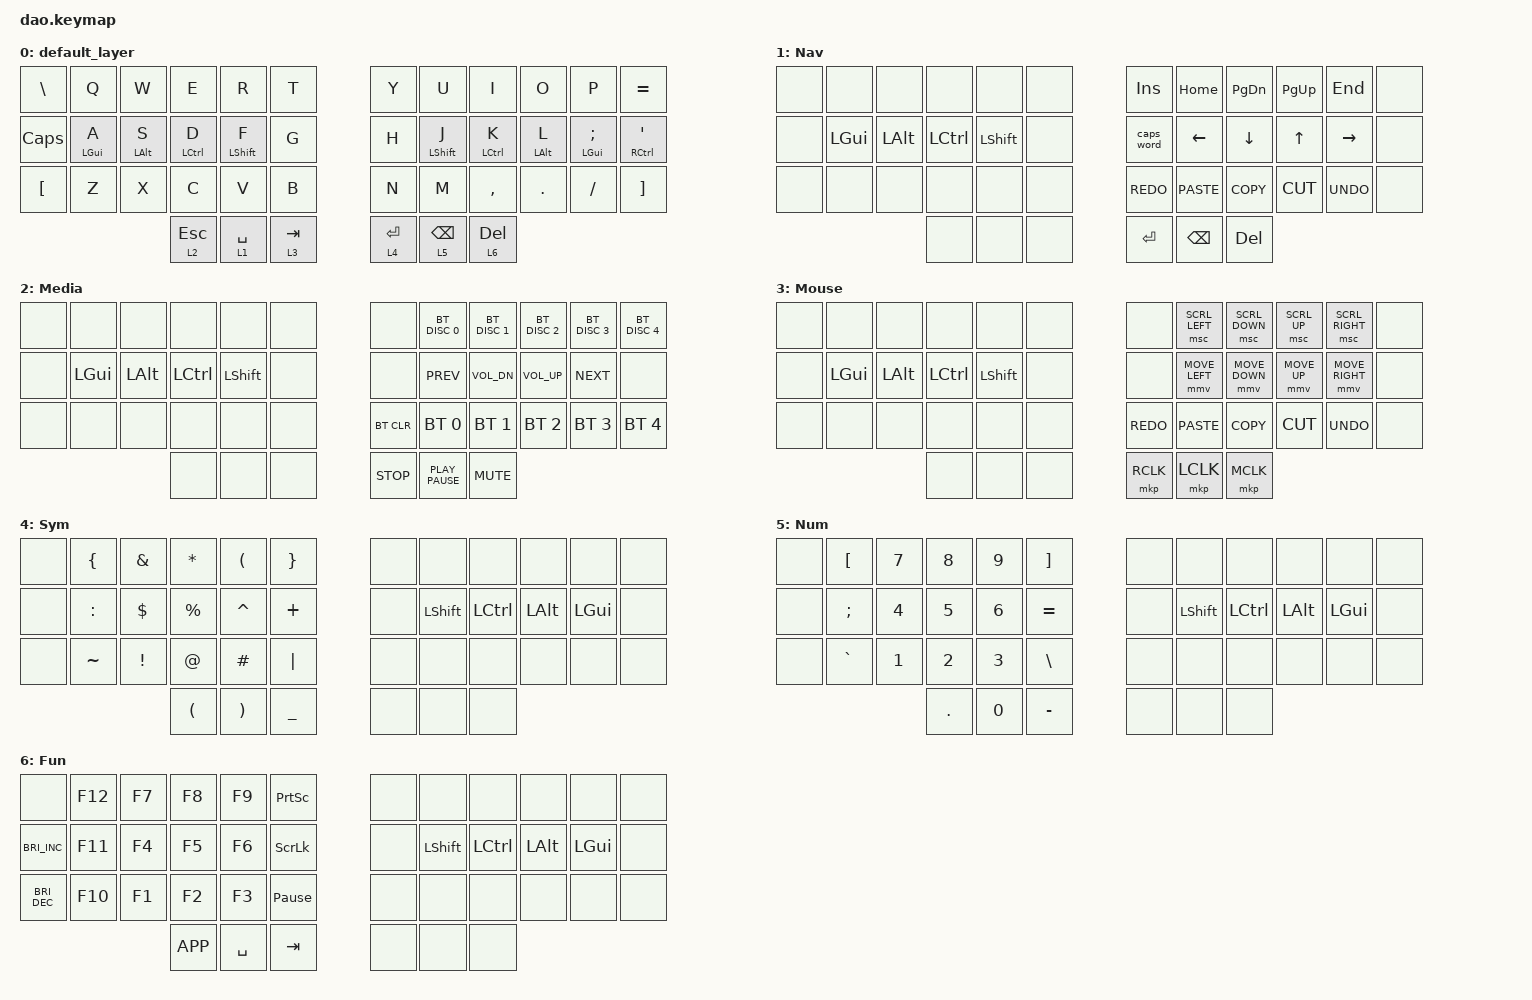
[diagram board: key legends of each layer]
/*
 * Copyright (c) 2021 Rafael Yumagulov
 *
 * SPDX-License-Identifier: MIT
 */

#include <behaviors.dtsi>
#include <dt-bindings/zmk/bt.h>
#include <dt-bindings/zmk/keys.h>
#include <dt-bindings/zmk/pointing.h>

#define DEF 0
#define LWR 1
#define RSE 2
#define ADJ 3

&lt { quick_tap_ms = <200>; };

&mt { quick_tap_ms = <200>; };

/ {
    chosen {
        zmk,matrix_transform = &default_transform;

        // zmk,matrix_transform = &extra_keys_transform;
    };
};

/ {
    combos {
        compatible = "zmk,combos";

        jk-escape {
            bindings = <&kp ESC>;
            key-positions = <19 20>;
            layers = <0>;
        };
    };

    behaviors {
        hr_mod_r: hr_mod_r {
            compatible = "zmk,behavior-hold-tap";
            label = "HR_MOD_R";
            bindings = <&kp>, <&kp>;

            #binding-cells = <2>;
            tapping-term-ms = <200>;
            quick-tap-ms = <200>;
            require-prior-idle-ms = <230>;
            flavor = "tap-preferred";
            hold-trigger-key-positions = <13 14 15 16 0 1 2 3 4 5 12 13 14 15 16 17 24 25 26 27 28 29 36 37 38 39 40 41>;
        };

        hr_mod_l: hr_mod_l {
            compatible = "zmk,behavior-hold-tap";
            label = "HR_MOD_L";
            bindings = <&kp>, <&kp>;

            #binding-cells = <2>;
            tapping-term-ms = <200>;
            quick-tap-ms = <200>;
            require-prior-idle-ms = <230>;
            flavor = "tap-preferred";
            hold-trigger-key-positions = <19 20 21 22 6 7 8 9 10 11 18 19 20 21 22 23 30 31 32 33 34 35 39 40 41 36 37 38>;
        };
    };

    keymap {
        compatible = "zmk,keymap";

        default_layer {
            bindings = <
&kp BACKSLASH     &kp Q                 &kp W                 &kp E                     &kp R                   &kp T      &kp Y        &kp U                   &kp I                     &kp O                 &kp P                    &kp EQUAL
&kp CAPS          &hr_mod_l LEFT_GUI A  &hr_mod_l LEFT_ALT S  &hr_mod_l LEFT_CONTROL D  &hr_mod_l LEFT_SHIFT F  &kp G      &kp H        &hr_mod_r LEFT_SHIFT J  &hr_mod_r LEFT_CONTROL K  &hr_mod_r LEFT_ALT L  &hr_mod_r LEFT_GUI SEMI  &mt RCTRL SQT
&kp LEFT_BRACKET  &kp Z                 &kp X                 &kp C                     &kp V                   &kp B      &kp N        &kp M                   &kp COMMA                 &kp DOT               &kp FSLH                 &kp RIGHT_BRACKET
                                                              &lt 2 ESCAPE              &lt 1 SPACE             &lt 3 TAB  &lt 4 ENTER  &lt 5 BSPC              &lt 6 DEL
            >;
        };

        Nav {
            bindings = <
&none  &none         &none         &none             &none           &none  &kp INSERT  &kp HOME       &kp PAGE_DOWN  &kp PAGE_UP  &kp END     &none
&none  &kp LEFT_GUI  &kp LEFT_ALT  &kp LEFT_CONTROL  &kp LEFT_SHIFT  &none  &caps_word  &kp LEFT       &kp DOWN       &kp UP       &kp RIGHT   &none
&none  &none         &none         &none             &none           &none  &kp K_REDO  &kp K_PASTE    &kp K_COPY     &kp K_CUT    &kp K_UNDO  &none
                                   &none             &none           &none  &kp ENTER   &kp BACKSPACE  &kp DELETE
            >;
        };

        Media {
            bindings = <
&none  &none         &none         &none             &none           &none  &none       &bt BT_DISC 0     &bt BT_DISC 1  &bt BT_DISC 2  &bt BT_DISC 3  &bt BT_DISC 4
&none  &kp LEFT_GUI  &kp LEFT_ALT  &kp LEFT_CONTROL  &kp LEFT_SHIFT  &none  &none       &kp K_PREV        &kp C_VOL_DN   &kp C_VOL_UP   &kp K_NEXT     &none
&none  &none         &none         &none             &none           &none  &bt BT_CLR  &bt BT_SEL 0      &bt BT_SEL 1   &bt BT_SEL 2   &bt BT_SEL 3   &bt BT_SEL 4
                                   &none             &none           &none  &kp K_STOP  &kp K_PLAY_PAUSE  &kp K_MUTE
            >;
        };

        Mouse {
            bindings = <
&none  &none         &none         &none             &none           &none  &none       &msc SCRL_LEFT  &msc SCRL_DOWN  &msc SCRL_UP  &msc SCRL_RIGHT  &none
&none  &kp LEFT_GUI  &kp LEFT_ALT  &kp LEFT_CONTROL  &kp LEFT_SHIFT  &none  &none       &mmv MOVE_LEFT  &mmv MOVE_DOWN  &mmv MOVE_UP  &mmv MOVE_RIGHT  &none
&none  &none         &none         &none             &none           &none  &kp K_REDO  &kp K_PASTE     &kp K_COPY      &kp K_CUT     &kp K_UNDO       &none
                                   &none             &none           &none  &mkp RCLK   &mkp LCLK       &mkp MCLK
            >;
        };

        Sym {
            bindings = <
&none  &kp LEFT_BRACE  &kp AMPERSAND    &kp ASTERISK          &kp LEFT_PARENTHESIS   &kp RIGHT_BRACE  &none  &none           &none             &none         &none         &none
&none  &kp COLON       &kp DOLLAR       &kp PERCENT           &kp CARET              &kp PLUS         &none  &kp LEFT_SHIFT  &kp LEFT_CONTROL  &kp LEFT_ALT  &kp LEFT_GUI  &none
&none  &kp TILDE       &kp EXCLAMATION  &kp AT                &kp HASH               &kp PIPE         &none  &none           &none             &none         &none         &none
                                        &kp LEFT_PARENTHESIS  &kp RIGHT_PARENTHESIS  &kp UNDERSCORE   &none  &none           &none
            >;
        };

        Num {
            bindings = <
&none  &kp LEFT_BRACKET  &kp N7  &kp N8   &kp N9  &kp RIGHT_BRACKET  &none  &none           &none             &none         &none         &none
&none  &kp SEMICOLON     &kp N4  &kp N5   &kp N6  &kp EQUAL          &none  &kp LEFT_SHIFT  &kp LEFT_CONTROL  &kp LEFT_ALT  &kp LEFT_GUI  &none
&none  &kp GRAVE         &kp N1  &kp N2   &kp N3  &kp BACKSLASH      &none  &none           &none             &none         &none         &none
                                 &kp DOT  &kp N0  &kp MINUS          &none  &none           &none
            >;
        };

        Fun {
            bindings = <
&none                 &kp F12  &kp F7  &kp F8     &kp F9     &kp PRINTSCREEN  &none  &none           &none             &none         &none         &none
&kp C_BRIGHTNESS_INC  &kp F11  &kp F4  &kp F5     &kp F6     &kp SCROLLLOCK   &none  &kp LEFT_SHIFT  &kp LEFT_CONTROL  &kp LEFT_ALT  &kp LEFT_GUI  &none
&kp C_BRIGHTNESS_DEC  &kp F10  &kp F1  &kp F2     &kp F3     &kp PAUSE_BREAK  &none  &none           &none             &none         &none         &none
                                       &kp K_APP  &kp SPACE  &kp TAB          &none  &none           &none
            >;
        };
    };
};
